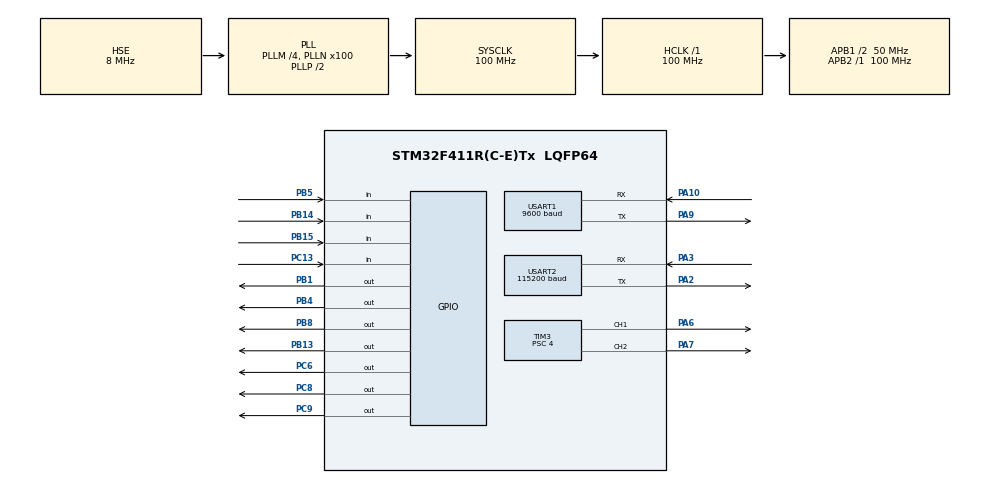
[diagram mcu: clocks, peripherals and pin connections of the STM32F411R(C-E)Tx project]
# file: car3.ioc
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FREERTOS.Tasks01=defaultTask,24,512,StartDefaultTask,Default,NULL,Dynamic,NULL,NULL;AutoDriveTask,24,512,StartTask02,Default,NULL,Dynamic,NULL,NULL;ControlTask,24,512,StartTask03,Default,NULL,Dynamic,NULL,NULL
FREERTOS.configUSE_NEWLIB_REENTRANT=1
Mcu.Family=STM32F4
Mcu.Name=STM32F411R(C-E)Tx
Mcu.Package=LQFP64
NVIC.PriorityGroup=NVIC_PRIORITYGROUP_4
NVIC.TIM1_TRG_COM_TIM11_IRQn=true\:15\:0\:false\:false\:true\:false\:false\:true\:true
NVIC.TimeBase=TIM1_TRG_COM_TIM11_IRQn
NVIC.TimeBaseIP=TIM11
NVIC.USART1_IRQn=true\:5\:0\:false\:false\:true\:true\:true\:true\:true
NVIC.USART2_IRQn=true\:5\:0\:false\:false\:true\:true\:true\:true\:true
PA10.Mode=Asynchronous
PA10.Signal=USART1_RX
PA13.Mode=Serial_Wire
PA13.Signal=SYS_JTMS-SWDIO
PA14.Mode=Serial_Wire
PA14.Signal=SYS_JTCK-SWCLK
PA2.Mode=Asynchronous
PA2.Signal=USART2_TX
PA3.Mode=Asynchronous
PA3.Signal=USART2_RX
PA6.Signal=S_TIM3_CH1
PA7.Signal=S_TIM3_CH2
PA9.Mode=Asynchronous
PA9.Signal=USART1_TX
PB1.Signal=GPIO_Output
PB13.Signal=GPIO_Output
PB14.Signal=GPIO_Input
PB15.Signal=GPIO_Input
PB4.Signal=GPIO_Output
PB5.Signal=GPIO_Input
PB8.Signal=GPIO_Output
PC13-ANTI_TAMP.GPIO_PuPd=GPIO_PULLUP
PC13-ANTI_TAMP.Signal=GPIO_Input
PC6.Signal=GPIO_Output
PC8.Signal=GPIO_Output
PC9.Signal=GPIO_Output
PH0\ -\ OSC_IN.Mode=HSE-External-Clock-Source
PH0\ -\ OSC_IN.Signal=RCC_OSC_IN
PH1\ -\ OSC_OUT.Mode=HSE-External-Clock-Source
PH1\ -\ OSC_OUT.Signal=RCC_OSC_OUT
ProjectManager.HeapSize=0x200
ProjectManager.StackSize=0x400
ProjectManager.TargetToolchain=STM32CubeIDE
RCC.48MHZClocksFreq_Value=50000000
RCC.AHBFreq_Value=100000000
RCC.APB1CLKDivider=RCC_HCLK_DIV2
RCC.APB1Freq_Value=50000000
RCC.APB1TimFreq_Value=100000000
RCC.APB2Freq_Value=100000000
RCC.APB2TimFreq_Value=100000000
RCC.CortexFreq_Value=100000000
RCC.HCLKFreq_Value=100000000
RCC.HSE_VALUE=8000000
RCC.HSI_VALUE=16000000
RCC.LSE_VALUE=32768
RCC.PLLM=4
RCC.PLLN=100
RCC.PLLSourceVirtual=RCC_PLLSOURCE_HSE
RCC.SYSCLKFreq_VALUE=100000000
RCC.SYSCLKSource=RCC_SYSCLKSOURCE_PLLCLK
RCC.VCOOutputFreq_Value=200000000
SH.S_TIM3_CH1.0=TIM3_CH1,PWM Generation1 CH1
SH.S_TIM3_CH2.0=TIM3_CH2,PWM Generation2 CH2
TIM2.Prescaler=99
TIM3.Channel-PWM\ Generation1\ CH1=TIM_CHANNEL_1
TIM3.Channel-PWM\ Generation2\ CH2=TIM_CHANNEL_2
TIM3.Period=999
TIM3.Prescaler=4
USART1.BaudRate=9600
USART1.VirtualMode=VM_ASYNC
USART2.BaudRate=115200
USART2.VirtualMode=VM_ASYNC
VP_FREERTOS_VS_CMSIS_V2.Mode=CMSIS_V2
VP_SYS_VS_tim11.Mode=TIM11
VP_TIM2_VS_ClockSourceINT.Mode=Internal
board=custom

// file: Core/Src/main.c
/* USER CODE BEGIN Header */
/**
  ******************************************************************************
  * @file           : main.c
  * @brief          : Main program body
  ******************************************************************************
  * @attention
  *
  * Copyright (c) 2026 STMicroelectronics.
  * All rights reserved.
  *
  * This software is licensed under terms that can be found in the LICENSE file
  * in the root directory of this software component.
  * If no LICENSE file comes with this software, it is provided AS-IS.
  *
  ******************************************************************************
  */
/* USER CODE END Header */
#include "main.h"
#include "cmsis_os.h"
#include "tim.h"
#include "usart.h"
#include "gpio.h"

/* USER CODE BEGIN Includes */
#include "move.h"
#include "pwm.h"
#include "stdio.h"
#include "string.h"
#include "ultra.h"
#include "auto_drive.h"
/* USER CODE END Includes */

/* USER CODE BEGIN PV */
volatile uint8_t mode = 0;
volatile uint8_t rxData = 0;
uint8_t rxBuffer = 0;
/* USER CODE END PV */

void SystemClock_Config(void);
void MX_FREERTOS_Init(void);

int main(void)
{

  /* MCU Configuration--------------------------------------------------------*/

  /* Reset of all peripherals, Initializes the Flash interface and the Systick. */
  HAL_Init();

  /* Configure the system clock */
  SystemClock_Config();

  /* Initialize all configured peripherals */
  MX_GPIO_Init();
  MX_TIM3_Init();
  MX_USART2_UART_Init();
  MX_USART1_UART_Init();
  MX_TIM2_Init();
  /* USER CODE BEGIN 2 */
PWM_Init();
HAL_UART_Receive_IT(&huart1, &rxBuffer, 1);
HAL_TIM_Base_Start(&htim2);

  /* USER CODE END 2 */

  /* Init scheduler */
  osKernelInitialize();  /* Call init function for freertos objects (in cmsis_os2.c) */
  MX_FREERTOS_Init();

  /* Start scheduler */
  osKernelStart();

  /* We should never get here as control is now taken by the scheduler */

  /* Infinite loop */
  while (1)
  {

  }
}

void SystemClock_Config(void)
{
  RCC_OscInitTypeDef RCC_OscInitStruct = {0};
  RCC_ClkInitTypeDef RCC_ClkInitStruct = {0};

  /** Configure the main internal regulator output voltage
  */
  __HAL_RCC_PWR_CLK_ENABLE();
  __HAL_PWR_VOLTAGESCALING_CONFIG(PWR_REGULATOR_VOLTAGE_SCALE1);

  /** Initializes the RCC Oscillators according to the specified parameters
  * in the RCC_OscInitTypeDef structure.
  */
  RCC_OscInitStruct.OscillatorType = RCC_OSCILLATORTYPE_HSE;
  RCC_OscInitStruct.HSEState = RCC_HSE_BYPASS;
  RCC_OscInitStruct.PLL.PLLState = RCC_PLL_ON;
  RCC_OscInitStruct.PLL.PLLSource = RCC_PLLSOURCE_HSE;
  RCC_OscInitStruct.PLL.PLLM = 4;
  RCC_OscInitStruct.PLL.PLLN = 100;
  RCC_OscInitStruct.PLL.PLLP = RCC_PLLP_DIV2;
  RCC_OscInitStruct.PLL.PLLQ = 4;
  if (HAL_RCC_OscConfig(&RCC_OscInitStruct) != HAL_OK)
  {
    Error_Handler();
  }

  /** Initializes the CPU, AHB and APB buses clocks
  */
  RCC_ClkInitStruct.ClockType = RCC_CLOCKTYPE_HCLK|RCC_CLOCKTYPE_SYSCLK
                              |RCC_CLOCKTYPE_PCLK1|RCC_CLOCKTYPE_PCLK2;
  RCC_ClkInitStruct.SYSCLKSource = RCC_SYSCLKSOURCE_PLLCLK;
  RCC_ClkInitStruct.AHBCLKDivider = RCC_SYSCLK_DIV1;
  RCC_ClkInitStruct.APB1CLKDivider = RCC_HCLK_DIV2;
  RCC_ClkInitStruct.APB2CLKDivider = RCC_HCLK_DIV1;

  if (HAL_RCC_ClockConfig(&RCC_ClkInitStruct, FLASH_LATENCY_3) != HAL_OK)
  {
    Error_Handler();
  }
}

/* USER CODE BEGIN 4 */
void HAL_UART_RxCpltCallback(UART_HandleTypeDef *huart)
{
    if(huart->Instance == USART1)
    {
    	rxData = rxBuffer;
        HAL_UART_Receive_IT(&huart1,&rxBuffer,sizeof(rxData));
    }
}
/* USER CODE END 4 */

void HAL_TIM_PeriodElapsedCallback(TIM_HandleTypeDef *htim)
{
  if (htim->Instance == TIM11)
  {
    HAL_IncTick();
  }
}

void Error_Handler(void)
{
  __disable_irq();
  while (1)
  {
  }
}

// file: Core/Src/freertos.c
/* USER CODE BEGIN Header */
/**
  ******************************************************************************
  * File Name          : freertos.c
  * Description        : Code for freertos applications
  ******************************************************************************
  * @attention
  *
  * Copyright (c) 2026 STMicroelectronics.
  * All rights reserved.
  *
  * This software is licensed under terms that can be found in the LICENSE file
  * in the root directory of this software component.
  * If no LICENSE file comes with this software, it is provided AS-IS.
  *
  ******************************************************************************
  */
/* USER CODE END Header */

#include "FreeRTOS.h"
#include "task.h"
#include "main.h"
#include "cmsis_os.h"

/* USER CODE BEGIN Includes */
#include "move.h"
#include "pwm.h"
#include "auto_drive.h"
#include "ultra.h"
extern volatile uint8_t mode;
extern volatile uint8_t rxData;

extern volatile float leftDistance;
extern volatile float frontDistance;
extern volatile float rightDistance;
/* USER CODE END Includes */

/* Definitions for defaultTask */
osThreadId_t defaultTaskHandle;
const osThreadAttr_t defaultTask_attributes = {
  .name = "defaultTask",
  .stack_size = 512 * 4,
  .priority = (osPriority_t) osPriorityNormal,
};
/* Definitions for AutoDriveTask */
osThreadId_t AutoDriveTaskHandle;
const osThreadAttr_t AutoDriveTask_attributes = {
  .name = "AutoDriveTask",
  .stack_size = 512 * 4,
  .priority = (osPriority_t) osPriorityNormal,
};
/* Definitions for ControlTask */
osThreadId_t ControlTaskHandle;
const osThreadAttr_t ControlTask_attributes = {
  .name = "ControlTask",
  .stack_size = 512 * 4,
  .priority = (osPriority_t) osPriorityNormal,
};

void StartDefaultTask(void *argument);
void StartTask02(void *argument);
void StartTask03(void *argument);

void MX_FREERTOS_Init(void); /* (MISRA C 2004 rule 8.1) */

void MX_FREERTOS_Init(void) {

  /* Create the thread(s) */
  /* creation of defaultTask */
  defaultTaskHandle = osThreadNew(StartDefaultTask, NULL, &defaultTask_attributes);

  /* creation of AutoDriveTask */
  AutoDriveTaskHandle = osThreadNew(StartTask02, NULL, &AutoDriveTask_attributes);

  /* creation of ControlTask */
  ControlTaskHandle = osThreadNew(StartTask03, NULL, &ControlTask_attributes);

}

void StartDefaultTask(void *argument)
{
  /* USER CODE BEGIN StartDefaultTask */
  /* Infinite loop */
  for(;;)
  {
	  if(mode == 1)
	          {
	              leftDistance = HCSR04_Left();
	              osDelay(5);

	              frontDistance = HCSR04_Front();
	              osDelay(5);

	              rightDistance = HCSR04_Right();
	              osDelay(5);
	          }
	          else
	          {
	              osDelay(20);
	          }
     }
  /* USER CODE END StartDefaultTask */
}

void StartTask02(void *argument)
{
  /* USER CODE BEGIN StartTask02 */
  /* Infinite loop */
  for(;;)
  {
	  if(mode == 1)
	         {
	             AutoDrive();
	         }
	  else {
		  moveStop();
	  }

    osDelay(10);
  }
  /* USER CODE END StartTask02 */
}

void StartTask03(void *argument)
{
  /* USER CODE BEGIN StartTask03 */
  /* Infinite loop */
	uint8_t lastSwitch = GPIO_PIN_SET;

	    for(;;)
	    {
	        uint8_t currentSwitch =
	            HAL_GPIO_ReadPin(GPIOC, GPIO_PIN_13);

	        // 스위치 눌림 감지
	        if(lastSwitch == GPIO_PIN_SET &&
	           currentSwitch == GPIO_PIN_RESET)
	        {
	            osDelay(50);

	            if(HAL_GPIO_ReadPin(GPIOC, GPIO_PIN_13) == GPIO_PIN_RESET)
	            {
	                mode = !mode;

	                // 모드 변경 시 정지
	                PWM_SetSpeed(0, 0);
	            }

	            // 버튼 떼기를 기다림
	            while(HAL_GPIO_ReadPin(GPIOC, GPIO_PIN_13) == GPIO_PIN_RESET)
	            {
	                osDelay(1);
	            }
	        }

	        lastSwitch = currentSwitch;

	        // =========================
	        // MANUAL MODE
	        // =========================
	        if(mode == 0)
	        {
	            switch(rxData)
	            {
	                case 0x01:
	                    moveForward();
	                    PWM_SetSpeed(950, 950);
	                    break;

	                case 0x02:
	                    moveBackward();
	                    PWM_SetSpeed(950, 950);
	                    break;

	                case 0x03:
	                    moveLeft();
	                    PWM_SetSpeed(750, 750);
	                    break;

	                case 0x04:
	                    moveRight();
	                    PWM_SetSpeed(750, 750);
	                    break;

	                case 0x05:
	                    PWM_SetSpeed(0, 0);
	                    break;
	            }
	        }

	        osDelay(1);
	    }
  /* USER CODE END StartTask03 */
}
